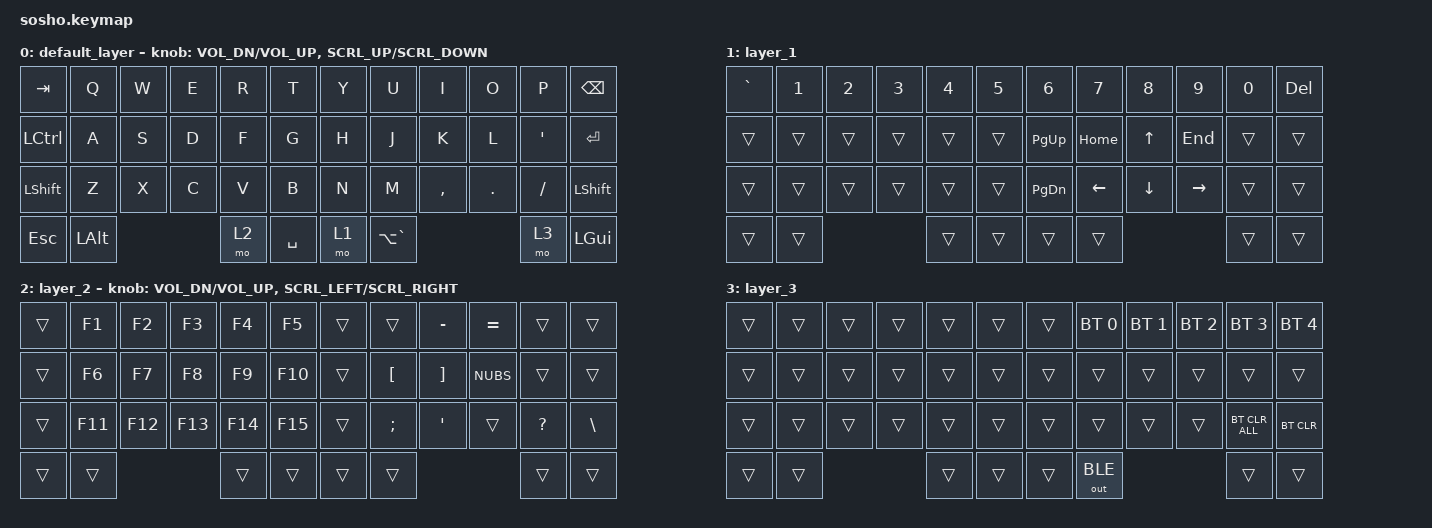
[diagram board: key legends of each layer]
//スクロール量の調整(デフォルト150)
#define ZMK_POINTING_DEFAULT_SCRL_VAL 150

#include <behaviors.dtsi>
#include <dt-bindings/zmk/bt.h>
#include <dt-bindings/zmk/keys.h>
#include <dt-bindings/zmk/pointing.h>
#include <dt-bindings/zmk/outputs.h>

/ {
	behaviors {
        ec_ms_l: ec_ms_h {
            compatible = "zmk,behavior-encoder-mouse-scroll";
            #sensor-binding-cells = <2>;
        };
        ec_ms_r: ec_ms_v {
            compatible = "zmk,behavior-encoder-mouse-scroll";
            #sensor-binding-cells = <2>;
        };
    };
};

//スクロールの調整
&msc {
    time-to-max-speed-ms = <0>;   // 即座に最大速度（加速なし）
    acceleration-exponent = <0>;   // 加速なし
};

/{
    combos {
        compatible = "zmk,combos";
		//左クリックのコンボ 19はJのキー 20はKのキーに相当します。
	    combo_LCLK {
            timeout-ms = <50>;
            key-positions = <19 20>;
            bindings = <&mkp LCLK>;
        };

		//右クリックのコンボ 20 K 21 L
        combo_RCLK {
            timeout-ms = <50>;
            key-positions = <20 21>;
            bindings = <&mkp RCLK>;
        };

		//ホイールクリックのコンボ 19 J 21 L
	    combo_MCLK {
            timeout-ms = <90>;
            key-positions = <19 21>;
            bindings = <&mkp MCLK>;
        };

    };
};

/{
keymap {
    compatible = "zmk,keymap";

    default_layer {
        bindings = <
            &kp TAB    &kp Q   &kp W  &kp E  &kp R  &kp T      &kp Y  &kp U  &kp I      &kp O    &kp P     &kp BSPC
            &kp LCTRL  &kp A   &kp S  &kp D  &kp F  &kp G      &kp H  &kp J  &kp K      &kp L    &kp SQT   &kp ENTER
            &kp LSHFT  &kp Z   &kp X  &kp C  &kp V  &kp B      &kp N  &kp M  &kp COMMA  &kp DOT  &kp SLASH &kp LSHFT
            &kp ESC    &kp LALT              &mo 2  &kp SPACE  &mo 1  &kp LA(GRAVE)              &mo 3     &kp LGUI
        >;
		//左のエンコーダは音量調整、右のエンコーダは&ec_ms_rでスクロール。
        sensor-bindings = <&inc_dec_kp C_VOL_DN C_VOL_UP &ec_ms_r SCRL_UP SCRL_DOWN>;
    };
	
    layer_1 {
        bindings = <
            &kp GRAVE &kp N1  &kp N2  &kp N3  &kp N4  &kp N5       &kp N6    &kp N7   &kp N8   &kp N9    &kp N0 &kp DEL
            &trans    &trans &trans &trans &trans &trans           &kp PG_UP &kp HOME &kp UP   &kp END   &trans &trans
            &trans    &trans &trans &trans &trans &trans           &kp PG_DN &kp LEFT &kp DOWN &kp RIGHT &trans &trans
            &trans    &trans               &trans &trans           &trans    &trans                      &trans &trans
        >;
    };

    layer_2 {
        bindings = <
            &trans &kp F1  &kp F2  &kp F3  &kp F4  &kp F5     &trans  &trans    &kp MINUS &kp EQUAL &trans     &trans
            &trans &kp F6  &kp F7  &kp F8  &kp F9  &kp F10    &trans  &kp LBKT  &kp RBKT  &kp NUBS  &trans     &trans
            &trans &kp F11 &kp F12 &kp F13 &kp F14 &kp F15    &trans  &kp SEMI  &kp SQT   &trans    &kp QMARK  &kp BSLH
            &trans &trans                  &trans  &trans     &trans  &trans                        &trans     &trans
        >;
		//レイヤー2のときだけ、左手のエンコーダを回すとボリュームの上下ができるようになっています。右手のエンコーダは左右スクロール(時計回り=右)。
		sensor-bindings = <&inc_dec_kp C_VOL_DN C_VOL_UP &ec_ms_r SCRL_LEFT SCRL_RIGHT>;

    };

    layer_3 {
        bindings = <
            &trans &trans &trans &trans &trans &trans      &trans  &bt BT_SEL 0  &bt BT_SEL 1  &bt BT_SEL 2  &bt BT_SEL 3   &bt BT_SEL 4
            &trans &trans &trans &trans &trans &trans      &trans  &trans        &trans        &trans        &trans         &trans
            &trans &trans &trans &trans &trans &trans      &trans  &trans        &trans        &trans        &bt BT_CLR_ALL &bt BT_CLR
            &trans &trans               &trans &trans      &trans  &out OUT_BLE                                    &trans         &trans
        >;
    };
    scroll {
        status = "reserved";
    };

    extra2 {
        status = "reserved";
    };
};
};
